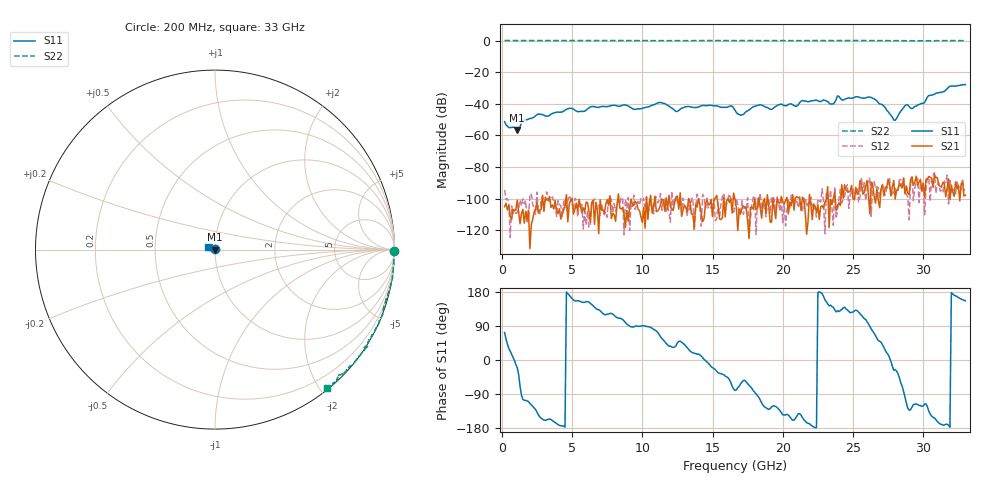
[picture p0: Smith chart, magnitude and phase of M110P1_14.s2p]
# GHZ S RI R 50
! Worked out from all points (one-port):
!   329 points, 200 MHz to 33 GHz, reference 50 ohm
!   lowest |S11| = -56.5 dB at 1.1 GHz (marker M1), VSWR 1.00, Z = 50.1 - j0.052 ohm
!   |S11| at or under -10 dB: start of sweep to end of sweep
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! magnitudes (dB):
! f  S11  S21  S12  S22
! 200 MHz  -51.3  -105.0  -94.4  0.0
! 1.1 GHz  -56.5  -100.9  -108.8  0.0
! 1.5 GHz  -50.2  -106.7  -100.1  0.0
! 2.6 GHz  -46.5  -109.0  -107.3  0.0
! 5.7 GHz  -44.8  -108.8  -103.6  0.0
! 11.2 GHz  -39.2  -106.3  -101.1  -0.1
! 12.4 GHz  -44.8  -98.7  -99.9  -0.1
! 14.8 GHz  -40.9  -103.7  -106.6  0.0
! 16.6 GHz  -44.0  -100.2  -105.0  0.0
! 17 GHz  -47.3  -109.7  -107.9  0.0
! 18.4 GHz  -40.5  -105.6  -96.4  0.0
! 19.2 GHz  -43.5  -114.8  -99.2  0.0
! 22.1 GHz  -38.1  -113.1  -105.8  0.0
! 23.6 GHz  -40.1  -99.9  -116.8  0.0
! 23.9 GHz  -35.0  -104.6  -106.8  0.0
! 26.2 GHz  -35.7  -109.5  -86.6  0.0
! 27.6 GHz  -46.2  -90.6  -86.5  -0.1
! 28 GHz  -50.4  -100.2  -93.3  -0.1
! 28.8 GHz  -40.6  -91.8  -97.3  0.0
! 29.2 GHz  -43.0  -86.1  -86.6  -0.1
! 30.4 GHz  -34.7  -85.9  -86.8  -0.2
! 33 GHz  -27.8  -97.7  -94.3  -0.1
